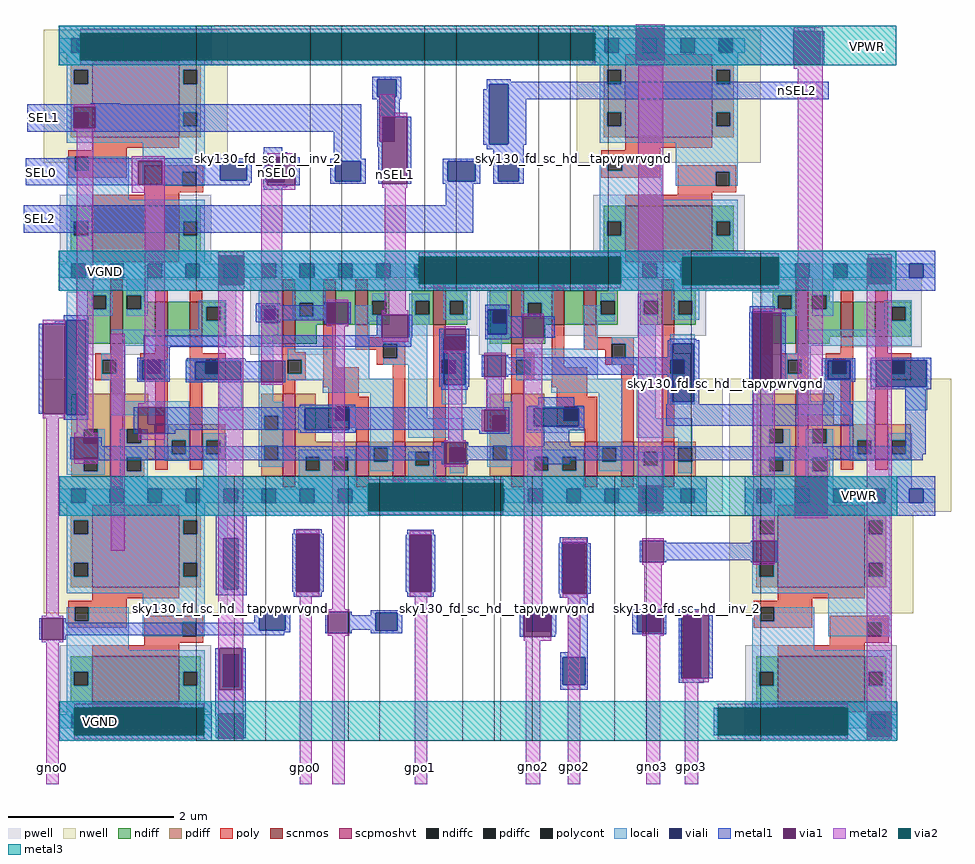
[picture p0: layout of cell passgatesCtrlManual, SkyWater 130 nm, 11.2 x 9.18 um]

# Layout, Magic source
magic
tech sky130A
magscale 1 2
<< locali >>
rect 1344 -3944 1452 -3942
<< viali >>
rect 1520 -3138 1566 -3096
rect 1526 -3246 1562 -3138
rect 1790 -3252 1836 -3108
rect 1140 -3340 1204 -3296
rect 1250 -3344 1296 -3284
rect 1418 -3342 1480 -3294
rect 1690 -3342 1756 -3294
rect 1812 -3342 1862 -3294
rect 1239 -3677 1273 -3643
rect 768 -3906 816 -3678
rect 1786 -3712 1832 -3652
rect 952 -3820 1006 -3774
rect 1080 -3822 1190 -3778
rect 1680 -3834 1732 -3718
rect 2232 -3874 2284 -3734
rect 2426 -3832 2474 -3656
rect 2608 -3820 2662 -3776
rect 2724 -3838 2846 -3774
rect 1344 -3942 1452 -3890
rect 1898 -3934 2006 -3890
rect 1148 -4328 1184 -4204
rect 1324 -4334 1380 -4194
rect 1598 -4334 1650 -4196
rect 1966 -4336 2022 -4214
rect 1234 -4426 1298 -4382
rect 1516 -4428 1568 -4384
rect 1880 -4430 1940 -4382
rect 2148 -4430 2206 -4382
rect 1146 -4564 1186 -4484
rect 1968 -4558 2022 -4492
rect 2254 -4542 2302 -4388
<< metal1 >>
rect 792 -3050 802 -2984
rect 2046 -3050 2056 -2984
rect 2134 -3048 2144 -2972
rect 2214 -3048 2224 -2972
rect 2326 -2980 2576 -2966
rect 2326 -3060 2526 -2980
rect 2590 -3060 2600 -2980
rect 1508 -3096 1578 -3090
rect 1508 -3138 1520 -3096
rect 1566 -3138 1578 -3096
rect 1784 -3102 1842 -3096
rect 1784 -3108 2610 -3102
rect 1784 -3120 1790 -3108
rect 1508 -3144 1526 -3138
rect 828 -3156 898 -3154
rect 674 -3162 1481 -3156
rect 674 -3214 787 -3162
rect 839 -3214 1481 -3162
rect 674 -3222 1481 -3214
rect 1246 -3272 1290 -3260
rect 1244 -3284 1302 -3272
rect 670 -3290 1212 -3286
rect 670 -3292 1216 -3290
rect 670 -3350 942 -3292
rect 1000 -3296 1216 -3292
rect 1000 -3340 1140 -3296
rect 1204 -3340 1216 -3296
rect 1000 -3346 1216 -3340
rect 1244 -3344 1250 -3284
rect 1000 -3350 1212 -3346
rect 670 -3352 1212 -3350
rect 1244 -3352 1254 -3344
rect 1322 -3352 1332 -3284
rect 1415 -3288 1481 -3222
rect 1520 -3246 1526 -3144
rect 1562 -3144 1578 -3138
rect 1562 -3186 1574 -3144
rect 1520 -3258 1532 -3246
rect 1406 -3294 1492 -3288
rect 1406 -3342 1418 -3294
rect 1480 -3342 1492 -3294
rect 1406 -3348 1492 -3342
rect 1522 -3348 1532 -3258
rect 1592 -3348 1602 -3186
rect 1776 -3252 1790 -3120
rect 1836 -3144 2610 -3108
rect 1836 -3252 1880 -3144
rect 1776 -3254 1880 -3252
rect 1784 -3264 1874 -3254
rect 1678 -3294 1768 -3288
rect 1678 -3342 1690 -3294
rect 1756 -3342 1768 -3294
rect 1678 -3348 1768 -3342
rect 1800 -3294 1874 -3264
rect 1800 -3342 1812 -3294
rect 1862 -3342 1874 -3294
rect 1800 -3348 1874 -3342
rect 1244 -3356 1302 -3352
rect 1246 -3362 1290 -3356
rect 1685 -3400 1751 -3348
rect 666 -3466 1751 -3400
rect 1126 -3592 1136 -3522
rect 1198 -3592 1208 -3522
rect 1610 -3590 1620 -3524
rect 2108 -3590 2118 -3524
rect 2246 -3592 2256 -3526
rect 2490 -3592 2500 -3526
rect 2694 -3590 2704 -3528
rect 2762 -3590 2772 -3528
rect 1227 -3640 1285 -3637
rect 1226 -3642 1285 -3640
rect 1392 -3642 1398 -3634
rect 1226 -3643 1398 -3642
rect 762 -3678 822 -3666
rect 762 -3680 768 -3678
rect 740 -3686 768 -3680
rect 702 -3904 712 -3686
rect 766 -3904 768 -3686
rect 762 -3906 768 -3904
rect 816 -3906 822 -3678
rect 1226 -3677 1239 -3643
rect 1273 -3677 1398 -3643
rect 1226 -3678 1398 -3677
rect 1226 -3680 1285 -3678
rect 1227 -3683 1285 -3680
rect 1392 -3686 1398 -3678
rect 1450 -3686 1456 -3634
rect 1780 -3652 1838 -3640
rect 1520 -3668 1530 -3664
rect 1518 -3714 1530 -3668
rect 956 -3720 1530 -3714
rect 1594 -3720 1604 -3664
rect 1670 -3718 1682 -3698
rect 956 -3742 1602 -3720
rect 956 -3768 1018 -3742
rect 940 -3774 1018 -3768
rect 940 -3820 952 -3774
rect 1006 -3820 1018 -3774
rect 1060 -3772 1200 -3770
rect 1060 -3777 1202 -3772
rect 1233 -3777 1239 -3776
rect 940 -3826 1018 -3820
rect 1057 -3778 1239 -3777
rect 1057 -3822 1080 -3778
rect 1190 -3822 1239 -3778
rect 1057 -3827 1239 -3822
rect 1060 -3828 1202 -3827
rect 1233 -3828 1239 -3827
rect 1291 -3828 1297 -3776
rect 1670 -3834 1680 -3718
rect 1734 -3750 1742 -3698
rect 1780 -3712 1786 -3652
rect 1832 -3668 1838 -3652
rect 2420 -3656 2480 -3644
rect 2420 -3660 2426 -3656
rect 2474 -3660 2480 -3656
rect 1832 -3712 1870 -3668
rect 1780 -3720 1870 -3712
rect 1922 -3720 1948 -3668
rect 1780 -3724 1838 -3720
rect 2226 -3726 2290 -3722
rect 1732 -3834 1742 -3750
rect 2222 -3734 2298 -3726
rect 1772 -3814 1778 -3762
rect 1830 -3767 1836 -3762
rect 2222 -3767 2232 -3734
rect 1830 -3809 2232 -3767
rect 1830 -3814 1836 -3809
rect 1670 -3838 1742 -3834
rect 1674 -3846 1738 -3838
rect 1332 -3888 1466 -3882
rect 1908 -3884 1996 -3864
rect 2222 -3874 2232 -3809
rect 2284 -3874 2298 -3734
rect 2418 -3832 2426 -3660
rect 2418 -3836 2428 -3832
rect 2496 -3836 2506 -3660
rect 2596 -3772 2674 -3770
rect 2594 -3776 2674 -3772
rect 2712 -3774 2858 -3768
rect 2712 -3775 2724 -3774
rect 2594 -3820 2608 -3776
rect 2662 -3820 2674 -3776
rect 2594 -3826 2674 -3820
rect 2711 -3825 2724 -3775
rect 2420 -3844 2480 -3836
rect 2222 -3880 2298 -3874
rect 2598 -3880 2662 -3826
rect 2712 -3838 2724 -3825
rect 2846 -3838 2858 -3774
rect 2712 -3844 2858 -3838
rect 1886 -3888 2018 -3884
rect 762 -3918 822 -3906
rect 932 -3952 942 -3888
rect 1006 -3890 1838 -3888
rect 1006 -3942 1344 -3890
rect 1452 -3894 1838 -3890
rect 1452 -3942 1778 -3894
rect 1006 -3952 1032 -3942
rect 1334 -3950 1468 -3942
rect 1766 -3946 1778 -3942
rect 1830 -3946 1838 -3894
rect 1882 -3890 2020 -3888
rect 1882 -3934 1898 -3890
rect 2006 -3934 2020 -3890
rect 2218 -3932 2668 -3880
rect 1882 -3944 2020 -3934
rect 1766 -3952 1838 -3946
rect 778 -4014 788 -3960
rect 844 -3982 854 -3960
rect 1922 -3973 1984 -3944
rect 1676 -3982 1682 -3973
rect 844 -4014 1682 -3982
rect 796 -4016 1682 -4014
rect 1676 -4025 1682 -4016
rect 1734 -3982 1740 -3973
rect 1922 -3982 1986 -3973
rect 2795 -3982 2845 -3844
rect 1734 -4001 2845 -3982
rect 1734 -4016 2837 -4001
rect 1734 -4025 1740 -4016
rect 1922 -4025 1986 -4016
rect 1488 -4138 1498 -4072
rect 1824 -4138 1834 -4072
rect 2144 -4138 2150 -4078
rect 2210 -4138 2216 -4078
rect 2518 -4144 2528 -4056
rect 2608 -4144 2618 -4056
rect 1130 -4204 1204 -4144
rect 1318 -4194 1386 -4182
rect 1130 -4328 1148 -4204
rect 1184 -4328 1204 -4204
rect 1130 -4342 1204 -4328
rect 1314 -4334 1324 -4194
rect 1380 -4334 1390 -4194
rect 1592 -4196 1656 -4184
rect 1588 -4334 1598 -4196
rect 1650 -4334 1660 -4196
rect 1960 -4214 2028 -4202
rect 1960 -4216 1966 -4214
rect 2022 -4216 2028 -4214
rect 1318 -4346 1386 -4334
rect 1592 -4346 1656 -4334
rect 1958 -4336 1966 -4216
rect 1958 -4338 1968 -4336
rect 2026 -4338 2036 -4216
rect 2154 -4262 2160 -4210
rect 2212 -4215 2218 -4210
rect 2422 -4215 2428 -4210
rect 2212 -4257 2428 -4215
rect 2212 -4262 2218 -4257
rect 2422 -4262 2428 -4257
rect 2480 -4262 2486 -4210
rect 1960 -4348 2028 -4338
rect 1222 -4382 1310 -4376
rect 703 -4450 709 -4398
rect 761 -4409 767 -4398
rect 1222 -4409 1234 -4382
rect 761 -4426 1234 -4409
rect 1298 -4426 1310 -4382
rect 761 -4432 1310 -4426
rect 761 -4439 1295 -4432
rect 1394 -4434 1400 -4382
rect 1452 -4390 1458 -4382
rect 1504 -4384 1580 -4378
rect 1868 -4382 1952 -4376
rect 1504 -4390 1516 -4384
rect 1452 -4425 1516 -4390
rect 1452 -4434 1458 -4425
rect 1504 -4428 1516 -4425
rect 1568 -4428 1580 -4384
rect 1504 -4434 1580 -4428
rect 761 -4450 767 -4439
rect 1864 -4442 1874 -4382
rect 1940 -4436 1952 -4382
rect 1940 -4442 1950 -4436
rect 1128 -4570 1138 -4470
rect 1192 -4570 1202 -4470
rect 1980 -4480 2028 -4348
rect 2136 -4382 2218 -4376
rect 2136 -4430 2148 -4382
rect 2136 -4434 2160 -4430
rect 2212 -4434 2218 -4382
rect 2136 -4436 2218 -4434
rect 2248 -4388 2308 -4376
rect 1962 -4492 2028 -4480
rect 1962 -4558 1968 -4492
rect 2022 -4558 2028 -4492
rect 2248 -4542 2254 -4388
rect 2302 -4390 2308 -4388
rect 2320 -4542 2330 -4390
rect 2248 -4554 2308 -4542
rect 1962 -4570 2028 -4558
rect 778 -4680 788 -4614
rect 1102 -4680 1112 -4614
rect 1128 -4628 1202 -4570
rect 1128 -4634 1136 -4628
rect 1130 -4688 1136 -4634
rect 1196 -4688 1202 -4628
rect 2332 -4680 2342 -4614
rect 2656 -4680 2666 -4614
rect 2696 -4684 2702 -4624
rect 2762 -4684 2768 -4624
<< via1 >>
rect 802 -3050 2046 -2984
rect 2144 -3048 2214 -2972
rect 2526 -3060 2590 -2980
rect 787 -3214 839 -3162
rect 942 -3350 1000 -3292
rect 1254 -3344 1296 -3284
rect 1296 -3344 1322 -3284
rect 1254 -3352 1322 -3344
rect 1532 -3246 1562 -3186
rect 1562 -3246 1592 -3186
rect 1532 -3348 1592 -3246
rect 1136 -3592 1198 -3522
rect 1620 -3590 2108 -3524
rect 2256 -3592 2490 -3526
rect 2704 -3590 2762 -3528
rect 712 -3904 766 -3686
rect 1398 -3686 1450 -3634
rect 1530 -3720 1594 -3664
rect 1682 -3718 1734 -3698
rect 1239 -3828 1291 -3776
rect 1682 -3750 1732 -3718
rect 1732 -3750 1734 -3718
rect 1870 -3720 1922 -3668
rect 1778 -3814 1830 -3762
rect 2428 -3832 2474 -3660
rect 2474 -3832 2496 -3660
rect 2428 -3836 2496 -3832
rect 942 -3952 1006 -3888
rect 1778 -3946 1830 -3894
rect 788 -4014 844 -3960
rect 1682 -4025 1734 -3973
rect 1498 -4138 1824 -4072
rect 2150 -4138 2210 -4078
rect 2528 -4144 2608 -4056
rect 1324 -4334 1380 -4194
rect 1598 -4334 1650 -4196
rect 1968 -4336 2022 -4216
rect 2022 -4336 2026 -4216
rect 1968 -4338 2026 -4336
rect 2160 -4262 2212 -4210
rect 2428 -4262 2480 -4210
rect 709 -4450 761 -4398
rect 1400 -4434 1452 -4382
rect 1874 -4430 1880 -4382
rect 1880 -4430 1940 -4382
rect 1874 -4442 1940 -4430
rect 1138 -4484 1192 -4470
rect 1138 -4564 1146 -4484
rect 1146 -4564 1186 -4484
rect 1186 -4564 1192 -4484
rect 1138 -4570 1192 -4564
rect 2160 -4430 2206 -4382
rect 2206 -4430 2212 -4382
rect 2160 -4434 2212 -4430
rect 2258 -4542 2302 -4390
rect 2302 -4542 2320 -4390
rect 788 -4680 1102 -4614
rect 1136 -4688 1196 -4628
rect 2342 -4680 2656 -4614
rect 2702 -4684 2762 -4624
<< metal2 >>
rect 2144 -2972 2214 -2962
rect 802 -2984 2046 -2974
rect 802 -3060 2046 -3050
rect 2144 -3058 2214 -3048
rect 2526 -2980 2596 -2970
rect 787 -3162 839 -3156
rect 787 -3220 839 -3214
rect 1526 -3176 1562 -3132
rect 1526 -3186 1592 -3176
rect 712 -3686 766 -3676
rect 712 -3914 766 -3904
rect 720 -4392 750 -3914
rect 794 -3950 833 -3220
rect 1526 -3246 1532 -3186
rect 926 -3292 1006 -3282
rect 1254 -3284 1322 -3274
rect 926 -3350 942 -3292
rect 1000 -3350 1006 -3292
rect 926 -3370 1006 -3350
rect 788 -3960 844 -3950
rect 788 -4024 844 -4014
rect 876 -4234 910 -3710
rect 958 -3878 1006 -3370
rect 1240 -3352 1254 -3286
rect 1240 -3362 1322 -3352
rect 1532 -3358 1592 -3348
rect 942 -3888 1006 -3878
rect 942 -3966 1006 -3952
rect 1136 -3522 1198 -3512
rect 1136 -3602 1198 -3592
rect 709 -4398 761 -4392
rect 709 -4456 761 -4450
rect 720 -4798 750 -4456
rect 1136 -4470 1196 -3602
rect 1240 -3770 1290 -3362
rect 1398 -3634 1450 -3628
rect 1538 -3654 1588 -3358
rect 1620 -3524 2108 -3514
rect 1620 -3600 2108 -3590
rect 1398 -3692 1450 -3686
rect 1530 -3664 1594 -3654
rect 1239 -3776 1291 -3770
rect 1239 -3834 1291 -3828
rect 1324 -4194 1380 -4184
rect 1324 -4344 1380 -4334
rect 1136 -4570 1138 -4470
rect 1192 -4570 1196 -4470
rect 788 -4614 1102 -4604
rect 788 -4690 1102 -4680
rect 1136 -4628 1196 -4570
rect 1136 -4694 1196 -4688
rect 1332 -4798 1362 -4344
rect 1411 -4376 1441 -3692
rect 1870 -3668 1922 -3662
rect 1530 -3730 1594 -3720
rect 1682 -3698 1734 -3692
rect 1870 -3726 1922 -3720
rect 1682 -3756 1734 -3750
rect 1691 -3967 1725 -3756
rect 1778 -3762 1830 -3756
rect 1778 -3820 1830 -3814
rect 1783 -3894 1825 -3820
rect 1772 -3946 1778 -3894
rect 1830 -3946 1836 -3894
rect 1682 -3973 1734 -3967
rect 1682 -4031 1734 -4025
rect 1498 -4072 1824 -4062
rect 1498 -4148 1824 -4138
rect 1598 -4196 1650 -4186
rect 1598 -4344 1650 -4334
rect 1400 -4382 1452 -4376
rect 1400 -4440 1452 -4434
rect 1411 -4798 1441 -4440
rect 1610 -4798 1640 -4344
rect 1874 -4372 1918 -3726
rect 2150 -4078 2210 -3058
rect 2590 -3060 2596 -2980
rect 2526 -3070 2596 -3060
rect 2256 -3526 2490 -3516
rect 2256 -3602 2490 -3592
rect 2150 -4144 2210 -4138
rect 2428 -3660 2496 -3650
rect 2428 -3846 2496 -3836
rect 1968 -4216 2026 -4206
rect 2160 -4210 2212 -4204
rect 2160 -4268 2212 -4262
rect 2428 -4210 2480 -3846
rect 2536 -3988 2596 -3070
rect 2704 -3528 2762 -3518
rect 2702 -3590 2704 -3528
rect 2528 -4056 2608 -3988
rect 2528 -4156 2608 -4144
rect 2428 -4268 2480 -4262
rect 1968 -4348 2026 -4338
rect 1874 -4382 1940 -4372
rect 1874 -4452 1940 -4442
rect 1879 -4798 1913 -4452
rect 1980 -4798 2010 -4348
rect 2165 -4376 2207 -4268
rect 2160 -4382 2212 -4376
rect 2160 -4440 2212 -4434
rect 2258 -4390 2320 -4380
rect 2170 -4798 2203 -4440
rect 2258 -4552 2320 -4542
rect 2262 -4798 2295 -4552
rect 2342 -4614 2656 -4604
rect 2342 -4690 2656 -4680
rect 2702 -4624 2762 -3590
rect 2702 -4690 2762 -4684
<< via2 >>
rect 802 -3050 2046 -2984
rect 1620 -3590 2108 -3524
rect 788 -4680 1102 -4614
rect 1498 -4138 1824 -4072
rect 2256 -3592 2490 -3526
rect 2342 -4680 2656 -4614
<< metal3 >>
rect 750 -2984 2774 -2966
rect 750 -3050 802 -2984
rect 2046 -3050 2774 -2984
rect 750 -3062 2774 -3050
rect 750 -3524 2774 -3510
rect 750 -3590 1620 -3524
rect 2108 -3526 2774 -3524
rect 2108 -3590 2256 -3526
rect 750 -3592 2256 -3590
rect 2490 -3592 2774 -3526
rect 750 -3606 2774 -3592
rect 752 -4072 2776 -4054
rect 752 -4138 1498 -4072
rect 1824 -4138 2776 -4072
rect 752 -4150 2776 -4138
rect 752 -4614 2776 -4598
rect 752 -4680 788 -4614
rect 1102 -4680 2342 -4614
rect 2656 -4680 2776 -4614
rect 752 -4694 2776 -4680
use sky130_fd_sc_hd__inv_2  x1 $PDKPATH/libs.ref/sky130_fd_sc_hd/mag
transform 1 0 1120 0 1 -3558
box -38 -48 314 592
use sky130_fd_sc_hd__inv_2  x2
transform 1 0 1396 0 1 -3558
box -38 -48 314 592
use sky130_fd_sc_hd__tapvpwrvgnd_1  x3 $PDKPATH/libs.ref/sky130_fd_sc_hd/mag
transform 1 0 1948 0 1 -3558
box -38 -48 130 592
use sky130_fd_sc_hd__tapvpwrvgnd_1  x4
transform -1 0 2408 0 -1 -3558
box -38 -48 130 592
use sky130_fd_sc_hd__tapvpwrvgnd_1  x5
transform 1 0 1120 0 1 -4646
box -38 -48 130 592
use sky130_fd_sc_hd__tapvpwrvgnd_1  x6
transform 1 0 1764 0 1 -4646
box -38 -48 130 592
use sky130_fd_sc_hd__and2_1  x7 $PDKPATH/libs.ref/sky130_fd_sc_hd/mag
transform -1 0 1212 0 -1 -3558
box -38 -48 498 592
use sky130_fd_sc_hd__and2b_1  x8 $PDKPATH/libs.ref/sky130_fd_sc_hd/mag
transform -1 0 1764 0 -1 -3558
box -38 -48 590 592
use sky130_fd_sc_hd__and2b_1  x9
transform -1 0 2316 0 -1 -3558
box -38 -48 590 592
use sky130_fd_sc_hd__and2_1  x10
transform -1 0 2868 0 -1 -3558
box -38 -48 498 592
use sky130_fd_sc_hd__inv_2  x11
transform 1 0 1212 0 1 -4646
box -38 -48 314 592
use sky130_fd_sc_hd__inv_2  x12
transform 1 0 1488 0 1 -4646
box -38 -48 314 592
use sky130_fd_sc_hd__inv_2  x13
transform 1 0 1856 0 1 -4646
box -38 -48 314 592
use sky130_fd_sc_hd__inv_2  x14
transform 1 0 2132 0 1 -4646
box -38 -48 314 592
use sky130_fd_sc_hd__decap_4  x15 $PDKPATH/libs.ref/sky130_fd_sc_hd/mag
transform 1 0 2040 0 1 -3558
box -38 -48 406 592
use sky130_fd_sc_hd__decap_4  x16
transform 1 0 2408 0 1 -4646
box -38 -48 406 592
use sky130_fd_sc_hd__decap_4  x17
transform 1 0 752 0 1 -4646
box -38 -48 406 592
use sky130_fd_sc_hd__inv_2  x18
transform 1 0 1672 0 1 -3558
box -38 -48 314 592
use sky130_fd_sc_hd__decap_4  x19
transform 1 0 752 0 1 -3558
box -38 -48 406 592
<< labels >>
flabel metal1 676 -3352 742 -3290 0 FreeSans 800 0 0 0 SEL0
port 0 nsew
flabel metal1 682 -3218 748 -3156 0 FreeSans 800 0 0 0 SEL1
port 1 nsew
flabel metal1 674 -3464 740 -3402 0 FreeSans 800 0 0 0 SEL2
port 2 nsew
flabel metal2 722 -4794 748 -4720 0 FreeSans 480 0 0 0 gno0
port 3 nsew
flabel metal2 1334 -4794 1360 -4720 0 FreeSans 480 0 0 0 gpo0
port 4 nsew
flabel metal2 1412 -4792 1438 -4718 0 FreeSans 480 0 0 0 gno1
port 5 nsew
flabel metal2 1612 -4794 1638 -4720 0 FreeSans 480 0 0 0 gpo1
port 6 nsew
flabel metal2 1884 -4792 1910 -4718 0 FreeSans 480 0 0 0 gno2
port 7 nsew
flabel metal2 1982 -4792 2008 -4718 0 FreeSans 480 0 0 0 gpo2
port 8 nsew
flabel metal2 2172 -4792 2198 -4718 0 FreeSans 480 0 0 0 gno3
port 9 nsew
flabel metal2 2266 -4792 2292 -4718 0 FreeSans 480 0 0 0 gpo3
port 10 nsew
flabel metal1 2466 -3142 2602 -3104 0 FreeSans 480 0 0 0 nSEL2
port 11 nsew
flabel metal3 2642 -3054 2766 -2980 0 FreeSans 640 0 0 0 VPWR
port 12 nsew
flabel metal3 2600 -4146 2768 -4058 0 FreeSans 640 0 0 0 VPWR
port 12 nsew
flabel metal3 780 -3604 948 -3516 0 FreeSans 640 0 0 0 VGND
port 13 nsew
flabel metal3 766 -4690 934 -4602 0 FreeSans 640 0 0 0 VGND
port 13 nsew
flabel metal2 1246 -3348 1310 -3294 0 FreeSans 320 0 0 0 nSEL0
flabel metal2 1534 -3350 1592 -3302 0 FreeSans 320 0 0 0 nSEL1
<< end >>

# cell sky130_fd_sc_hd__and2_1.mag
magic
tech sky130A
magscale 1 2
<< nwell >>
rect -38 261 498 582
<< pwell >>
rect 229 185 419 203
rect 33 21 419 185
rect 33 17 63 21
rect 29 -17 63 17
<< scnmos >>
rect 115 75 145 159
rect 199 75 229 159
rect 307 47 337 177
<< scpmoshvt >>
rect 115 371 145 455
rect 199 371 229 455
rect 307 297 337 497
<< ndiff >>
rect 255 159 307 177
rect 59 121 115 159
rect 59 87 71 121
rect 105 87 115 121
rect 59 75 115 87
rect 145 75 199 159
rect 229 93 307 159
rect 229 75 263 93
rect 255 59 263 75
rect 297 59 307 93
rect 255 47 307 59
rect 337 93 393 177
rect 337 59 347 93
rect 381 59 393 93
rect 337 47 393 59
<< pdiff >>
rect 255 485 307 497
rect 255 455 263 485
rect 59 443 115 455
rect 59 409 71 443
rect 105 409 115 443
rect 59 371 115 409
rect 145 443 199 455
rect 145 409 155 443
rect 189 409 199 443
rect 145 371 199 409
rect 229 451 263 455
rect 297 451 307 485
rect 229 417 307 451
rect 229 383 263 417
rect 297 383 307 417
rect 229 371 307 383
rect 245 297 307 371
rect 337 485 432 497
rect 337 451 367 485
rect 401 451 432 485
rect 337 417 432 451
rect 337 383 367 417
rect 401 383 432 417
rect 337 297 432 383
<< ndiffc >>
rect 71 87 105 121
rect 263 59 297 93
rect 347 59 381 93
<< pdiffc >>
rect 71 409 105 443
rect 155 409 189 443
rect 263 451 297 485
rect 263 383 297 417
rect 367 451 401 485
rect 367 383 401 417
<< poly >>
rect 307 497 337 523
rect 115 455 145 481
rect 199 455 229 481
rect 115 265 145 371
rect 58 249 145 265
rect 58 215 74 249
rect 108 215 145 249
rect 58 199 145 215
rect 115 159 145 199
rect 199 265 229 371
rect 307 265 337 297
rect 199 249 265 265
rect 199 215 215 249
rect 249 215 265 249
rect 199 199 265 215
rect 307 249 373 265
rect 307 215 323 249
rect 357 215 373 249
rect 307 199 373 215
rect 199 159 229 199
rect 307 177 337 199
rect 115 49 145 75
rect 199 49 229 75
rect 307 21 337 47
<< polycont >>
rect 74 215 108 249
rect 215 215 249 249
rect 323 215 357 249
<< locali >>
rect 0 527 29 561
rect 63 527 121 561
rect 155 527 213 561
rect 247 527 305 561
rect 339 527 397 561
rect 431 527 460 561
rect 57 443 113 527
rect 247 485 313 527
rect 57 409 71 443
rect 105 409 113 443
rect 57 393 113 409
rect 147 443 207 459
rect 147 409 155 443
rect 189 409 207 443
rect 147 349 207 409
rect 247 451 263 485
rect 297 451 313 485
rect 247 417 313 451
rect 247 383 263 417
rect 297 383 313 417
rect 351 485 443 493
rect 351 451 367 485
rect 401 451 443 485
rect 351 417 443 451
rect 351 383 367 417
rect 401 383 443 417
rect 20 265 73 337
rect 147 315 335 349
rect 301 265 335 315
rect 20 249 155 265
rect 20 215 74 249
rect 108 215 155 249
rect 199 249 267 265
rect 199 215 215 249
rect 249 215 267 249
rect 301 249 359 265
rect 301 215 323 249
rect 357 215 359 249
rect 301 199 359 215
rect 301 181 335 199
rect 57 143 335 181
rect 57 121 123 143
rect 57 87 71 121
rect 105 87 123 121
rect 393 109 443 383
rect 57 71 123 87
rect 247 93 297 109
rect 247 59 263 93
rect 247 17 297 59
rect 331 93 443 109
rect 331 59 347 93
rect 381 59 443 93
rect 331 51 443 59
rect 0 -17 29 17
rect 63 -17 121 17
rect 155 -17 213 17
rect 247 -17 305 17
rect 339 -17 397 17
rect 431 -17 460 17
<< viali >>
rect 29 527 63 561
rect 121 527 155 561
rect 213 527 247 561
rect 305 527 339 561
rect 397 527 431 561
rect 29 -17 63 17
rect 121 -17 155 17
rect 213 -17 247 17
rect 305 -17 339 17
rect 397 -17 431 17
<< metal1 >>
rect 0 561 460 592
rect 0 527 29 561
rect 63 527 121 561
rect 155 527 213 561
rect 247 527 305 561
rect 339 527 397 561
rect 431 527 460 561
rect 0 496 460 527
rect 0 17 460 48
rect 0 -17 29 17
rect 63 -17 121 17
rect 155 -17 213 17
rect 247 -17 305 17
rect 339 -17 397 17
rect 431 -17 460 17
rect 0 -48 460 -17
<< labels >>
flabel metal1 s 29 527 63 561 0 FreeSans 200 0 0 0 VPWR
port 2 nsew
flabel metal1 s 29 -17 63 17 0 FreeSans 200 0 0 0 VGND
port 3 nsew
flabel locali s 397 153 431 187 0 FreeSans 250 0 0 0 X
port 4 nsew
flabel locali s 397 85 431 119 0 FreeSans 250 0 0 0 X
port 4 nsew
flabel locali s 397 221 431 255 0 FreeSans 250 0 0 0 X
port 4 nsew
flabel locali s 397 289 431 323 0 FreeSans 250 0 0 0 X
port 4 nsew
flabel locali s 397 357 431 391 0 FreeSans 250 0 0 0 X
port 4 nsew
flabel locali s 397 425 431 459 0 FreeSans 250 0 0 0 X
port 4 nsew
flabel locali s 213 221 247 255 0 FreeSans 250 0 0 0 B
port 5 nsew
flabel locali s 121 221 155 255 0 FreeSans 250 0 0 0 A
port 6 nsew
flabel locali s 29 221 63 255 0 FreeSans 250 0 0 0 A
port 6 nsew
flabel nwell s 29 527 63 561 0 FreeSans 200 0 0 0 VPB
port 7 nsew
flabel pwell s 29 -17 63 17 0 FreeSans 200 0 0 0 VNB
port 8 nsew
rlabel comment s 0 0 0 0 4 and2_1
<< properties >>
string FIXED_BBOX 0 0 460 544
string GDS_END 25706
string GDS_FILE /tmp/simplecounter.gds
string GDS_START 20864
string path 0.000 2.720 2.300 2.720 
<< end >>

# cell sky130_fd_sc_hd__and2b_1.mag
magic
tech sky130A
magscale 1 2
<< nwell >>
rect -38 261 590 582
<< pwell >>
rect 365 157 551 203
rect 1 21 551 157
rect 29 -17 63 21
<< scnmos >>
rect 79 47 109 131
rect 267 47 297 131
rect 345 47 375 131
rect 443 47 473 177
<< scpmoshvt >>
rect 79 413 109 497
rect 177 413 207 497
rect 265 413 295 497
rect 443 297 473 497
<< ndiff >>
rect 391 131 443 177
rect 27 106 79 131
rect 27 72 35 106
rect 69 72 79 106
rect 27 47 79 72
rect 109 106 161 131
rect 109 72 119 106
rect 153 72 161 106
rect 109 47 161 72
rect 215 106 267 131
rect 215 72 223 106
rect 257 72 267 106
rect 215 47 267 72
rect 297 47 345 131
rect 375 111 443 131
rect 375 77 399 111
rect 433 77 443 111
rect 375 47 443 77
rect 473 127 525 177
rect 473 93 483 127
rect 517 93 525 127
rect 473 47 525 93
<< pdiff >>
rect 27 462 79 497
rect 27 428 35 462
rect 69 428 79 462
rect 27 413 79 428
rect 109 471 177 497
rect 109 437 119 471
rect 153 437 177 471
rect 109 413 177 437
rect 207 462 265 497
rect 207 428 219 462
rect 253 428 265 462
rect 207 413 265 428
rect 295 483 443 497
rect 295 449 315 483
rect 349 449 383 483
rect 417 449 443 483
rect 295 413 443 449
rect 393 297 443 413
rect 473 457 525 497
rect 473 423 483 457
rect 517 423 525 457
rect 473 384 525 423
rect 473 350 483 384
rect 517 350 525 384
rect 473 297 525 350
<< ndiffc >>
rect 35 72 69 106
rect 119 72 153 106
rect 223 72 257 106
rect 399 77 433 111
rect 483 93 517 127
<< pdiffc >>
rect 35 428 69 462
rect 119 437 153 471
rect 219 428 253 462
rect 315 449 349 483
rect 383 449 417 483
rect 483 423 517 457
rect 483 350 517 384
<< poly >>
rect 79 497 109 523
rect 177 497 207 523
rect 265 497 295 523
rect 443 497 473 523
rect 79 265 109 413
rect 39 249 109 265
rect 39 215 55 249
rect 89 215 109 249
rect 39 199 109 215
rect 79 131 109 199
rect 177 227 207 413
rect 265 379 295 413
rect 265 363 363 379
rect 265 329 312 363
rect 346 329 363 363
rect 265 305 363 329
rect 289 282 363 305
rect 289 233 375 282
rect 443 265 473 297
rect 177 211 246 227
rect 177 177 196 211
rect 230 191 246 211
rect 230 177 297 191
rect 177 161 297 177
rect 267 131 297 161
rect 345 131 375 233
rect 417 249 473 265
rect 417 215 427 249
rect 461 215 473 249
rect 417 197 473 215
rect 443 177 473 197
rect 79 21 109 47
rect 267 21 297 47
rect 345 21 375 47
rect 443 21 473 47
<< polycont >>
rect 55 215 89 249
rect 312 329 346 363
rect 196 177 230 211
rect 427 215 461 249
<< locali >>
rect 0 527 29 561
rect 63 527 121 561
rect 155 527 213 561
rect 247 527 305 561
rect 339 527 397 561
rect 431 527 489 561
rect 523 527 552 561
rect 35 462 69 489
rect 103 471 169 527
rect 103 437 119 471
rect 153 437 169 471
rect 204 462 261 484
rect 35 403 69 428
rect 204 428 219 462
rect 253 428 261 462
rect 297 483 434 527
rect 297 449 315 483
rect 349 449 383 483
rect 417 449 434 483
rect 297 433 434 449
rect 470 457 531 473
rect 35 357 170 403
rect 29 249 89 323
rect 29 215 55 249
rect 29 153 89 215
rect 123 227 170 357
rect 204 295 261 428
rect 470 423 483 457
rect 517 423 531 457
rect 296 363 435 391
rect 296 329 312 363
rect 346 329 435 363
rect 470 384 531 423
rect 470 350 483 384
rect 517 350 531 384
rect 470 316 531 350
rect 204 265 376 295
rect 204 261 461 265
rect 264 249 461 261
rect 123 211 230 227
rect 123 177 196 211
rect 123 161 230 177
rect 264 215 427 249
rect 264 189 461 215
rect 123 131 167 161
rect 18 106 85 118
rect 18 72 35 106
rect 69 72 85 106
rect 18 17 85 72
rect 119 106 167 131
rect 264 122 298 189
rect 496 155 531 316
rect 153 72 167 106
rect 119 56 167 72
rect 223 106 298 122
rect 483 127 531 155
rect 257 83 298 106
rect 370 111 449 116
rect 223 54 257 72
rect 370 77 399 111
rect 433 77 449 111
rect 370 17 449 77
rect 517 93 531 127
rect 483 51 531 93
rect 0 -17 29 17
rect 63 -17 121 17
rect 155 -17 213 17
rect 247 -17 305 17
rect 339 -17 397 17
rect 431 -17 489 17
rect 523 -17 552 17
<< viali >>
rect 29 527 63 561
rect 121 527 155 561
rect 213 527 247 561
rect 305 527 339 561
rect 397 527 431 561
rect 489 527 523 561
rect 29 -17 63 17
rect 121 -17 155 17
rect 213 -17 247 17
rect 305 -17 339 17
rect 397 -17 431 17
rect 489 -17 523 17
<< metal1 >>
rect 0 561 552 592
rect 0 527 29 561
rect 63 527 121 561
rect 155 527 213 561
rect 247 527 305 561
rect 339 527 397 561
rect 431 527 489 561
rect 523 527 552 561
rect 0 496 552 527
rect 0 17 552 48
rect 0 -17 29 17
rect 63 -17 121 17
rect 155 -17 213 17
rect 247 -17 305 17
rect 339 -17 397 17
rect 431 -17 489 17
rect 523 -17 552 17
rect 0 -48 552 -17
<< labels >>
flabel locali s 489 357 523 391 0 FreeSans 200 0 0 0 X
port 2 nsew
flabel locali s 29 289 63 323 0 FreeSans 400 0 0 0 A_N
port 3 nsew
flabel locali s 29 153 63 187 0 FreeSans 400 0 0 0 A_N
port 3 nsew
flabel locali s 305 357 339 391 0 FreeSans 400 0 0 0 B
port 4 nsew
flabel locali s 489 85 523 119 0 FreeSans 200 0 0 0 X
port 2 nsew
flabel locali s 29 221 63 255 0 FreeSans 400 0 0 0 A_N
port 3 nsew
flabel locali s 397 357 431 391 0 FreeSans 400 0 0 0 B
port 4 nsew
flabel locali s 489 425 523 459 0 FreeSans 200 0 0 0 X
port 2 nsew
flabel metal1 s 29 -17 63 17 0 FreeSans 200 0 0 0 VGND
port 5 nsew
flabel metal1 s 29 527 63 561 0 FreeSans 200 0 0 0 VPWR
port 6 nsew
flabel nwell s 29 527 63 561 0 FreeSans 200 0 0 0 VPB
port 7 nsew
flabel pwell s 29 -17 63 17 0 FreeSans 200 0 0 0 VNB
port 8 nsew
rlabel comment s 0 0 0 0 4 and2b_1
<< properties >>
string FIXED_BBOX 0 0 552 544
string GDS_END 101430
string GDS_FILE /tmp/simplecounter.gds
string GDS_START 95954
string path 0.000 2.720 2.760 2.720 
<< end >>

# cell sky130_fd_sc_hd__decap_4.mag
magic
tech sky130A
magscale 1 2
<< nwell >>
rect -38 261 406 582
<< pwell >>
rect 1 21 367 183
rect 29 -17 63 21
<< scnmos >>
rect 79 47 289 157
<< scpmoshvt >>
rect 79 323 289 497
<< ndiff >>
rect 27 119 79 157
rect 27 85 35 119
rect 69 85 79 119
rect 27 47 79 85
rect 289 119 341 157
rect 289 85 299 119
rect 333 85 341 119
rect 289 47 341 85
<< pdiff >>
rect 27 485 79 497
rect 27 451 35 485
rect 69 451 79 485
rect 27 383 79 451
rect 27 349 35 383
rect 69 349 79 383
rect 27 323 79 349
rect 289 485 341 497
rect 289 451 299 485
rect 333 451 341 485
rect 289 383 341 451
rect 289 349 299 383
rect 333 349 341 383
rect 289 323 341 349
<< ndiffc >>
rect 35 85 69 119
rect 299 85 333 119
<< pdiffc >>
rect 35 451 69 485
rect 35 349 69 383
rect 299 451 333 485
rect 299 349 333 383
<< poly >>
rect 79 497 289 523
rect 79 297 289 323
rect 79 291 163 297
rect 21 275 163 291
rect 21 241 37 275
rect 71 241 163 275
rect 21 225 163 241
rect 205 239 347 255
rect 205 205 297 239
rect 331 205 347 239
rect 205 189 347 205
rect 205 183 289 189
rect 79 157 289 183
rect 79 21 289 47
<< polycont >>
rect 37 241 71 275
rect 297 205 331 239
<< locali >>
rect 0 527 29 561
rect 63 527 121 561
rect 155 527 213 561
rect 247 527 305 561
rect 339 527 368 561
rect 17 485 351 527
rect 17 451 35 485
rect 69 451 299 485
rect 333 451 351 485
rect 17 383 351 451
rect 17 349 35 383
rect 69 349 299 383
rect 333 349 351 383
rect 17 309 351 349
rect 17 241 37 275
rect 71 241 167 275
rect 17 171 167 241
rect 201 239 351 309
rect 201 205 297 239
rect 331 205 351 239
rect 17 119 351 171
rect 17 85 35 119
rect 69 85 299 119
rect 333 85 351 119
rect 17 17 351 85
rect 0 -17 29 17
rect 63 -17 121 17
rect 155 -17 213 17
rect 247 -17 305 17
rect 339 -17 368 17
<< viali >>
rect 29 527 63 561
rect 121 527 155 561
rect 213 527 247 561
rect 305 527 339 561
rect 29 -17 63 17
rect 121 -17 155 17
rect 213 -17 247 17
rect 305 -17 339 17
<< metal1 >>
rect 0 561 368 592
rect 0 527 29 561
rect 63 527 121 561
rect 155 527 213 561
rect 247 527 305 561
rect 339 527 368 561
rect 0 496 368 527
rect 0 17 368 48
rect 0 -17 29 17
rect 63 -17 121 17
rect 155 -17 213 17
rect 247 -17 305 17
rect 339 -17 368 17
rect 0 -48 368 -17
<< labels >>
flabel metal1 s 29 -17 63 17 0 FreeSans 200 0 0 0 VGND
port 2 nsew
flabel metal1 s 29 527 63 561 0 FreeSans 200 0 0 0 VPWR
port 3 nsew
flabel nwell s 29 527 63 561 0 FreeSans 200 0 0 0 VPB
port 4 nsew
flabel pwell s 29 -17 63 17 0 FreeSans 200 0 0 0 VNB
port 5 nsew
rlabel comment s 0 0 0 0 4 decap_4
<< properties >>
string FIXED_BBOX 0 0 368 544
string GDS_END 31590
string GDS_FILE /tmp/simplecounter.gds
string GDS_START 28856
string path 0.000 0.000 1.840 0.000 
<< end >>
